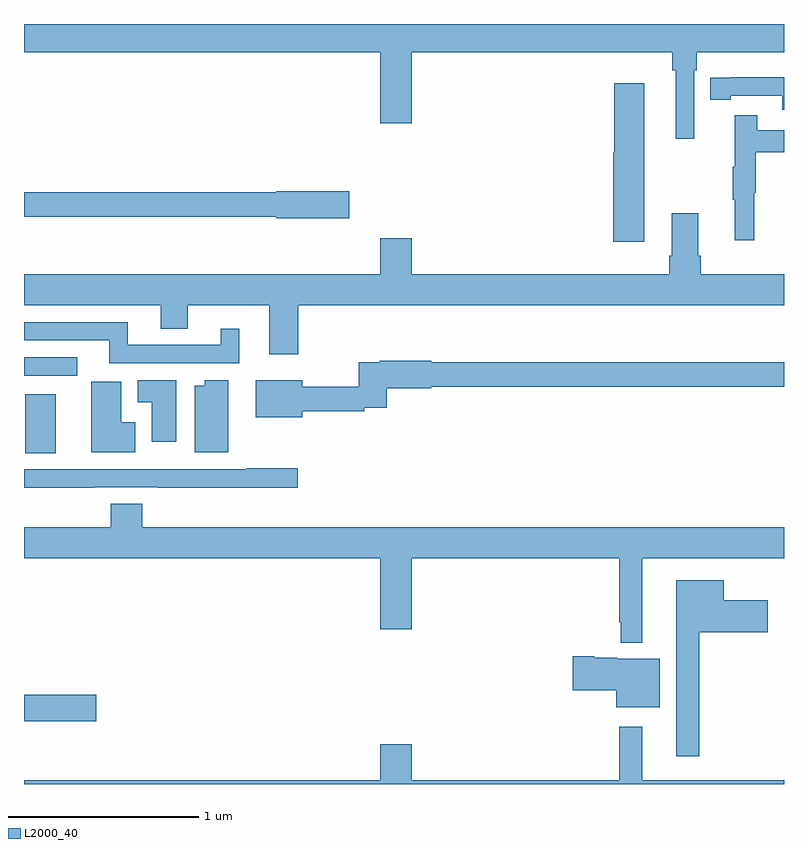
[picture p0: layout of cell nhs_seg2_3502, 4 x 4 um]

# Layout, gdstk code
import gdstk
lib = gdstk.Library(unit=1e-6, precision=1e-09)
def R(c, l, rs):  # rectangles x0, y0, x1, y1
    for r in rs: c.add(gdstk.rectangle(r[:2], r[2:], *l))
def P(c, l, *ps):  # polygons
    for p in ps: c.add(gdstk.Polygon(p, *l))
L2000_40 = (2000, 40)

nhs_seg2_3502 = lib.new_cell('nhs_seg2_3502')
R(nhs_seg2_3502, L2000_40, [(295,628.129,295.381,628.271), (295.007,629.542,295.168,629.851), (295,629.949,295.281,630.045)])
P(nhs_seg2_3502, L2000_40, [(298.527,631.556),(298.541,631.556),(298.541,631.652),(299,631.652),(299,631.8),(295,631.8),(295,631.652),(296.876,631.652),(296.876,631.278),(297.04,631.278),(297.04,631.652),(298.411,631.652),(298.411,631.556),(298.43,631.556),(298.43,631.197),(298.527,631.197)],
  [(299,631.519),(298.72,631.519),(298.72,631.518),(298.612,631.518),(298.612,631.402),(298.72,631.402),(298.72,631.422),(298.992,631.422),(298.992,631.35),(299,631.35)],
  [(298.264,631.489),(298.106,631.489),(298.106,631.125),(298.1,631.125),(298.1,630.654),(298.264,630.654)],
  [(298.844,630.912),(298.852,630.912),(298.852,631.126),(299,631.126),(299,631.242),(298.859,631.242),(298.859,631.321),(298.742,631.321),(298.742,631.049),(298.731,631.049),(298.731,630.875),(298.742,630.875),(298.742,630.663),(298.844,630.663)],
  [(296.713,630.92),(296.328,630.92),(296.328,630.914),(295,630.914),(295,630.786),(296.328,630.786),(296.328,630.778),(296.713,630.778)],
  [(296.444,630.32),(299,630.32),(299,630.484),(298.562,630.484),(298.562,630.58),(298.549,630.58),(298.549,630.805),(298.409,630.805),(298.409,630.58),(298.397,630.58),(298.397,630.484),(297.04,630.484),(297.04,630.673),(296.876,630.673),(296.876,630.484),(295,630.484),(295,630.32),(295.721,630.32),(295.721,630.196),(295.861,630.196),(295.861,630.32),(296.291,630.32),(296.291,630.063),(296.444,630.063)],
  [(296.134,630.196),(296.036,630.196),(296.036,630.111),(295.546,630.111),(295.546,630.231),(295,630.231),(295,630.135),(295.448,630.135),(295.448,630.015),(296.134,630.015)],
  [(296.464,629.761),(296.792,629.761),(296.792,629.781),(296.909,629.781),(296.909,629.882),(297.144,629.882),(297.144,629.89),(299,629.89),(299,630.019),(297.144,630.019),(297.144,630.027),(296.872,630.027),(296.872,630.019),(296.761,630.019),(296.761,629.89),(296.464,629.89),(296.464,629.926),(296.219,629.926),(296.219,629.729),(296.464,629.729)],
  [(295.801,629.926),(295.599,629.926),(295.599,629.81),(295.673,629.81),(295.673,629.601),(295.801,629.601)],
  [(296.074,629.926),(295.952,629.926),(295.952,629.896),(295.898,629.896),(295.898,629.546),(296.074,629.546)],
  [(295.585,629.704),(295.513,629.704),(295.513,629.916),(295.355,629.916),(295.355,629.546),(295.585,629.546)],
  [(295.373,629.361),(295.705,629.361),(295.705,629.36),(296.44,629.36),(296.44,629.462),(296.17,629.462),(296.17,629.457),(295,629.457),(295,629.36),(295.373,629.36)],
  [(298.255,628.988),(299,628.988),(299,629.152),(295.622,629.152),(295.622,629.276),(295.457,629.276),(295.457,629.152),(295,629.152),(295,628.988),(296.876,628.988),(296.876,628.614),(297.04,628.614),(297.04,628.988),(298.134,628.988),(298.134,628.651),(298.141,628.651),(298.141,628.544),(298.255,628.544)],
  [(298.555,628.598),(298.915,628.598),(298.915,628.768),(298.684,628.768),(298.684,628.873),(298.433,628.873),(298.433,627.945),(298.555,627.945)],
  [(298.345,628.459),(298.122,628.459),(298.122,628.465),(298,628.465),(298,628.472),(297.888,628.472),(297.888,628.294),(298.118,628.294),(298.118,628.205),(298.345,628.205)],
  [(299,627.82),(298.255,627.82),(298.255,628.102),(298.134,628.102),(298.134,627.82),(297.04,627.82),(297.04,628.009),(296.876,628.009),(296.876,627.82),(295,627.82),(295,627.8),(299,627.8)])

lib.write_gds('nhs_seg2_3502.gds')
